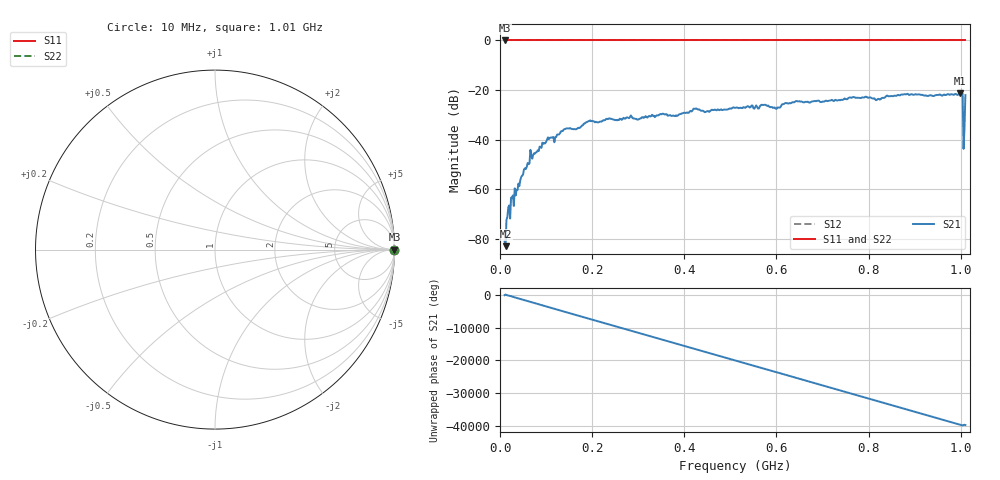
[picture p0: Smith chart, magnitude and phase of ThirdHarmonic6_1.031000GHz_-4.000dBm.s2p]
! 8/16/2025 8:47:58 AM
! C:\ANRITSUVNA\TEMP\TEMP.S2P
! CHANNEL.1
! TR.MEASUREMENT
! RAW.DATA
! RF.CORRECTION.OFF
! AVERAGING.OFF
! IF.BANDWIDTH: 5KHZ
! SWEEPTYPE:  FREQ.SWEEP(Linear)
! Reference Plane Port Info
! PORT:  PORT1  PORT2
! DISTANCE:  0  m  0  m
! TIME:  0  s  0  s
! PHASE.OFFSET:  0  deg.  0  deg.
! LOSS:  0  dB  0  dB
! REF.LOSS:  0  dB  0  dB
! REF.FREQ:  0  Hz  0  Hz
! Power Info
! POWER:  -20  dBm  -20  dBm
! EFF.POWER:  -20  dBm  -20  dBm
! SOURCE.ATTEN:  0  dB  0  dB
! TEST.ATTEN:  0  dB  0  dB
# GHZ S RI R 50.0
! FREQ.GHZ  S11RE  S11IM  S21RE  S21IM  S12RE  S12IM  S22RE  S22IM
!; PortSelection: Port_12
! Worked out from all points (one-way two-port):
!   501 points, 10 MHz to 1.01 GHz, reference 50 ohm
!   highest |S21| = -21.24 dB at 998 MHz (marker M1); lowest = -82.9 dB at 12 MHz (marker M2)
!   lowest |S11| = 0.0 dB at 10 MHz (marker M3)
!   |S11| at or under -10 dB: nowhere
!   |S22| runs from 0.0 to 0.0 dB; largest |S21 - S12| = 1.1
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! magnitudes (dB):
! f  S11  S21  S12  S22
! 10 MHz  0.0  -81.0  0.0  0.0
! 12 MHz  0.0  -82.9  0.0  0.0
! 20 MHz  0.0  -66.5  0.0  0.0
! 28 MHz  0.0  -62.5  0.0  0.0
! 34 MHz  0.0  -62.5  0.0  0.0
! 50 MHz  0.0  -54.1  0.0  0.0
! 70 MHz  0.0  -47.6  0.0  0.0
! 106 MHz  0.0  -39.8  0.0  0.0
! 142 MHz  0.0  -35.7  0.0  0.0
! 178 MHz  0.0  -34.3  0.0  0.0
! 196 MHz  0.0  -32.2  0.0  0.0
! 344 MHz  0.0  -30.2  0.0  0.0
! 510 MHz  0.0  -27.1  0.0  0.0
! 572 MHz  0.0  -26.0  0.0  0.0
! 602 MHz  0.0  -27.0  0.0  0.0
! 618 MHz  0.0  -25.3  0.0  0.0
! 678 MHz  0.0  -24.6  0.0  0.0
! 844 MHz  0.0  -22.5  0.0  0.0
! 998 MHz  0.0  -21.2  0.0  0.0
! 1 GHz  0.0  -21.3  0.0  0.0
! 1.004 GHz  0.0  -21.3  0.0  0.0
! 1.01 GHz  0.0  -22.0  0.0  0.0
